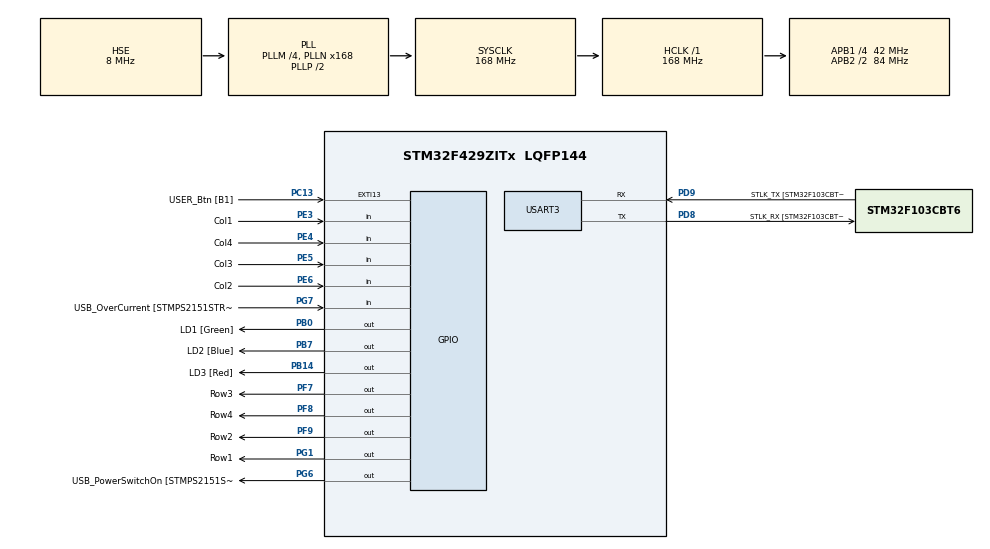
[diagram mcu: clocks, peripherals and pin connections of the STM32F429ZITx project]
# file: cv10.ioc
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Mcu.Family=STM32F4
Mcu.Name=STM32F429ZITx
Mcu.Package=LQFP144
NVIC.PriorityGroup=NVIC_PRIORITYGROUP_4
NVIC.TIM3_IRQn=true\:0\:0\:false\:false\:true\:true\:true\:true
PA1.GPIO_Label=RMII_REF_CLK [LAN8742A-CZ-TR_REFCLK0]
PA1.Signal=ETH_REF_CLK
PA10.GPIO_Label=USB_ID
PA10.Signal=USB_OTG_FS_ID
PA11.GPIO_Label=USB_DM
PA11.Signal=USB_OTG_FS_DM
PA12.GPIO_Label=USB_DP
PA12.Signal=USB_OTG_FS_DP
PA13.GPIO_Label=TMS
PA13.Mode=Serial_Wire
PA13.Signal=SYS_JTMS-SWDIO
PA14.GPIO_Label=TCK
PA14.Mode=Serial_Wire
PA14.Signal=SYS_JTCK-SWCLK
PA2.GPIO_Label=RMII_MDIO [LAN8742A-CZ-TR_MDIO]
PA2.Signal=ETH_MDIO
PA7.GPIO_Label=RMII_CRS_DV [LAN8742A-CZ-TR_CRS_DV]
PA7.Signal=ETH_CRS_DV
PA8.GPIO_Label=USB_SOF [TP1]
PA8.Signal=USB_OTG_FS_SOF
PA9.GPIO_Label=USB_VBUS
PA9.Signal=USB_OTG_FS_VBUS
PB0.GPIO_Label=LD1 [Green]
PB0.Signal=GPIO_Output
PB13.GPIO_Label=RMII_TXD1 [LAN8742A-CZ-TR_TXD1]
PB13.Signal=ETH_TXD1
PB14.GPIO_Label=LD3 [Red]
PB14.Signal=GPIO_Output
PB7.GPIO_Label=LD2 [Blue]
PB7.Signal=GPIO_Output
PC1.GPIO_Label=RMII_MDC [LAN8742A-CZ-TR_MDC]
PC1.Signal=ETH_MDC
PC13.GPIO_Label=USER_Btn [B1]
PC13.Signal=GPXTI13
PC14/OSC32_IN.Mode=LSE-External-Oscillator
PC14/OSC32_IN.Signal=RCC_OSC32_IN
PC15/OSC32_OUT.Mode=LSE-External-Oscillator
PC15/OSC32_OUT.Signal=RCC_OSC32_OUT
PC4.GPIO_Label=RMII_RXD0 [LAN8742A-CZ-TR_RXD0]
PC4.Signal=ETH_RXD0
PC5.GPIO_Label=RMII_RXD1 [LAN8742A-CZ-TR_RXD1]
PC5.Signal=ETH_RXD1
PD8.GPIO_Label=STLK_RX [STM32F103CBT6_PA3]
PD8.Mode=Asynchronous
PD8.Signal=USART3_TX
PD9.GPIO_Label=STLK_TX [STM32F103CBT6_PA2]
PD9.Mode=Asynchronous
PD9.Signal=USART3_RX
PE3.GPIO_Label=Col1
PE3.GPIO_PuPd=GPIO_PULLUP
PE3.Signal=GPIO_Input
PE4.GPIO_Label=Col4
PE4.GPIO_PuPd=GPIO_PULLUP
PE4.Signal=GPIO_Input
PE5.GPIO_Label=Col3
PE5.GPIO_PuPd=GPIO_PULLUP
PE5.Signal=GPIO_Input
PE6.GPIO_Label=Col2
PE6.GPIO_PuPd=GPIO_PULLUP
PE6.Signal=GPIO_Input
PF7.GPIO_Label=Row3
PF7.GPIO_ModeDefaultOutputPP=GPIO_MODE_OUTPUT_OD
PF7.GPIO_PuPd=GPIO_NOPULL
PF7.PinState=GPIO_PIN_SET
PF7.Signal=GPIO_Output
PF8.GPIO_Label=Row4
PF8.GPIO_ModeDefaultOutputPP=GPIO_MODE_OUTPUT_OD
PF8.GPIO_PuPd=GPIO_NOPULL
PF8.PinState=GPIO_PIN_SET
PF8.Signal=GPIO_Output
PF9.GPIO_Label=Row2
PF9.GPIO_ModeDefaultOutputPP=GPIO_MODE_OUTPUT_OD
PF9.GPIO_PuPd=GPIO_NOPULL
PF9.PinState=GPIO_PIN_SET
PF9.Signal=GPIO_Output
PG1.GPIO_Label=Row1
PG1.GPIO_ModeDefaultOutputPP=GPIO_MODE_OUTPUT_OD
PG1.GPIO_PuPd=GPIO_NOPULL
PG1.PinState=GPIO_PIN_SET
PG1.Signal=GPIO_Output
PG11.GPIO_Label=RMII_TX_EN [LAN8742A-CZ-TR_TXEN]
PG11.Signal=ETH_TX_EN
PG13.GPIO_Label=RMII_TXD0 [LAN8742A-CZ-TR_TXD0]
PG13.Signal=ETH_TXD0
PG6.GPIO_Label=USB_PowerSwitchOn [STMPS2151STR_EN]
PG6.Signal=GPIO_Output
PG7.GPIO_Label=USB_OverCurrent [STMPS2151STR_FAULT]
PG7.Signal=GPIO_Input
PH0/OSC_IN.GPIO_Label=MCO [STM32F103CBT6_PA8]
PH0/OSC_IN.Mode=HSE-External-Clock-Source
PH0/OSC_IN.Signal=RCC_OSC_IN
PH1/OSC_OUT.Mode=HSE-External-Clock-Source
PH1/OSC_OUT.Signal=RCC_OSC_OUT
ProjectManager.HeapSize=0x200
ProjectManager.StackSize=0x400
ProjectManager.TargetToolchain=STM32CubeIDE
RCC.48MHZClocksFreq_Value=48000000
RCC.AHBFreq_Value=168000000
RCC.APB1CLKDivider=RCC_HCLK_DIV4
RCC.APB1Freq_Value=42000000
RCC.APB1TimFreq_Value=84000000
RCC.APB2CLKDivider=RCC_HCLK_DIV2
RCC.APB2Freq_Value=84000000
RCC.APB2TimCLKDivider=2
RCC.APB2TimFreq_Value=168000000
RCC.CortexFreq_Value=168000000
RCC.HCLKFreq_Value=168000000
RCC.HSE_VALUE=8000000
RCC.HSI_VALUE=16000000
RCC.PLLM=4
RCC.PLLMUL=RCC_PLL_MUL9
RCC.PLLN=168
RCC.PLLQ=7
RCC.PLLSourceVirtual=RCC_PLLSOURCE_HSE
RCC.PRESCALERUSB=RCC_USBCLKSOURCE_PLL_DIV1_5
RCC.SYSCLKFreq_VALUE=168000000
RCC.SYSCLKSource=RCC_SYSCLKSOURCE_PLLCLK
RCC.SYSCLKSourceVirtual=RCC_SYSCLKSOURCE_PLLCLK
RCC.USBFreq_Value=48000000
RCC.VCOOutputFreq_Value=336000000
TIM3.AutoReloadPreload=TIM_AUTORELOAD_PRELOAD_ENABLE
TIM3.Period=99
TIM3.Prescaler=8399
USART3.VirtualMode=VM_ASYNC
VP_TIM3_VS_ClockSourceINT.Mode=Internal
board=NUCLEO-F429ZI

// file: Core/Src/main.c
/* USER CODE BEGIN Header */
/**
  ******************************************************************************
  * @file           : main.c
  * @brief          : Main program body
  ******************************************************************************
  * @attention
  *
  * Copyright (c) 2023 STMicroelectronics.
  * All rights reserved.
  *
  * This software is licensed under terms that can be found in the LICENSE file
  * in the root directory of this software component.
  * If no LICENSE file comes with this software, it is provided AS-IS.
  *
  ******************************************************************************
  */
/* USER CODE END Header */
#include "main.h"

/* USER CODE BEGIN Includes */
#include <stdio.h>

/* USER CODE END Includes */

TIM_HandleTypeDef htim3;

UART_HandleTypeDef huart3;

/* USER CODE BEGIN PV */
static volatile char key = 0;

/* USER CODE END PV */

void SystemClock_Config(void);
static void MX_GPIO_Init(void);
static void MX_USART3_UART_Init(void);
static void MX_TIM3_Init(void);
/* USER CODE BEGIN PFP */

int __io_putchar(int ch)
{
	ITM_SendChar(ch);
	return 0;
}

/* USER CODE END PFP */

int main(void)
{

  /* MCU Configuration--------------------------------------------------------*/

  /* Reset of all peripherals, Initializes the Flash interface and the Systick. */
  HAL_Init();

  /* Configure the system clock */
  SystemClock_Config();

  /* Initialize all configured peripherals */
  MX_GPIO_Init();
  MX_USART3_UART_Init();
  MX_TIM3_Init();
  /* USER CODE BEGIN 2 */
  HAL_TIM_Base_Start_IT(&htim3);

  const char code[] = {'7', '9', '3', '2', '#'};
  uint8_t pos = 0;
  uint32_t timeout = HAL_GetTick();

  /* USER CODE END 2 */

  /* Infinite loop */
  while (1)
  {

    /* USER CODE BEGIN 3 */

		if (pos != 0 && HAL_GetTick() - timeout > 3000) {
			pos = 0;
			printf("timeout\n");
		}

		if (key != 0) {
			if (key == code[pos]) {
				pos++;
				if (pos == sizeof(code)) {
					HAL_GPIO_TogglePin(LD1_GPIO_Port, LD1_Pin);
					pos = 0;
				}
			} else {
				pos = 0;
			}

			printf("code = %c > pos = %d\n", key, pos);
			timeout = HAL_GetTick();
			HAL_Delay(500);
			key = 0;
		}

  }
  /* USER CODE END 3 */
}

void SystemClock_Config(void)
{
  RCC_OscInitTypeDef RCC_OscInitStruct = {0};
  RCC_ClkInitTypeDef RCC_ClkInitStruct = {0};

  /** Configure the main internal regulator output voltage
  */
  __HAL_RCC_PWR_CLK_ENABLE();
  __HAL_PWR_VOLTAGESCALING_CONFIG(PWR_REGULATOR_VOLTAGE_SCALE1);

  /** Initializes the RCC Oscillators according to the specified parameters
  * in the RCC_OscInitTypeDef structure.
  */
  RCC_OscInitStruct.OscillatorType = RCC_OSCILLATORTYPE_HSE;
  RCC_OscInitStruct.HSEState = RCC_HSE_BYPASS;
  RCC_OscInitStruct.PLL.PLLState = RCC_PLL_ON;
  RCC_OscInitStruct.PLL.PLLSource = RCC_PLLSOURCE_HSE;
  RCC_OscInitStruct.PLL.PLLM = 4;
  RCC_OscInitStruct.PLL.PLLN = 168;
  RCC_OscInitStruct.PLL.PLLP = RCC_PLLP_DIV2;
  RCC_OscInitStruct.PLL.PLLQ = 7;
  if (HAL_RCC_OscConfig(&RCC_OscInitStruct) != HAL_OK)
  {
    Error_Handler();
  }

  /** Initializes the CPU, AHB and APB buses clocks
  */
  RCC_ClkInitStruct.ClockType = RCC_CLOCKTYPE_HCLK|RCC_CLOCKTYPE_SYSCLK
                              |RCC_CLOCKTYPE_PCLK1|RCC_CLOCKTYPE_PCLK2;
  RCC_ClkInitStruct.SYSCLKSource = RCC_SYSCLKSOURCE_PLLCLK;
  RCC_ClkInitStruct.AHBCLKDivider = RCC_SYSCLK_DIV1;
  RCC_ClkInitStruct.APB1CLKDivider = RCC_HCLK_DIV4;
  RCC_ClkInitStruct.APB2CLKDivider = RCC_HCLK_DIV2;

  if (HAL_RCC_ClockConfig(&RCC_ClkInitStruct, FLASH_LATENCY_5) != HAL_OK)
  {
    Error_Handler();
  }
}

static void MX_TIM3_Init(void)
{

  TIM_ClockConfigTypeDef sClockSourceConfig = {0};
  TIM_MasterConfigTypeDef sMasterConfig = {0};

  htim3.Instance = TIM3;
  htim3.Init.Prescaler = 8399;
  htim3.Init.CounterMode = TIM_COUNTERMODE_UP;
  htim3.Init.Period = 99;
  htim3.Init.ClockDivision = TIM_CLOCKDIVISION_DIV1;
  htim3.Init.AutoReloadPreload = TIM_AUTORELOAD_PRELOAD_ENABLE;
  if (HAL_TIM_Base_Init(&htim3) != HAL_OK)
  {
    Error_Handler();
  }
  sClockSourceConfig.ClockSource = TIM_CLOCKSOURCE_INTERNAL;
  if (HAL_TIM_ConfigClockSource(&htim3, &sClockSourceConfig) != HAL_OK)
  {
    Error_Handler();
  }
  sMasterConfig.MasterOutputTrigger = TIM_TRGO_RESET;
  sMasterConfig.MasterSlaveMode = TIM_MASTERSLAVEMODE_DISABLE;
  if (HAL_TIMEx_MasterConfigSynchronization(&htim3, &sMasterConfig) != HAL_OK)
  {
    Error_Handler();
  }

}

static void MX_USART3_UART_Init(void)
{

  huart3.Instance = USART3;
  huart3.Init.BaudRate = 115200;
  huart3.Init.WordLength = UART_WORDLENGTH_8B;
  huart3.Init.StopBits = UART_STOPBITS_1;
  huart3.Init.Parity = UART_PARITY_NONE;
  huart3.Init.Mode = UART_MODE_TX_RX;
  huart3.Init.HwFlowCtl = UART_HWCONTROL_NONE;
  huart3.Init.OverSampling = UART_OVERSAMPLING_16;
  if (HAL_UART_Init(&huart3) != HAL_OK)
  {
    Error_Handler();
  }

}

static void MX_GPIO_Init(void)
{
  GPIO_InitTypeDef GPIO_InitStruct = {0};

  /* GPIO Ports Clock Enable */
  __HAL_RCC_GPIOE_CLK_ENABLE();
  __HAL_RCC_GPIOC_CLK_ENABLE();
  __HAL_RCC_GPIOF_CLK_ENABLE();
  __HAL_RCC_GPIOH_CLK_ENABLE();
  __HAL_RCC_GPIOA_CLK_ENABLE();
  __HAL_RCC_GPIOB_CLK_ENABLE();
  __HAL_RCC_GPIOG_CLK_ENABLE();
  __HAL_RCC_GPIOD_CLK_ENABLE();

  /*Configure GPIO pin Output Level */
  HAL_GPIO_WritePin(GPIOF, Row3_Pin|Row4_Pin|Row2_Pin, GPIO_PIN_SET);

  /*Configure GPIO pin Output Level */
  HAL_GPIO_WritePin(GPIOB, LD1_Pin|LD3_Pin|LD2_Pin, GPIO_PIN_RESET);

  /*Configure GPIO pin Output Level */
  HAL_GPIO_WritePin(Row1_GPIO_Port, Row1_Pin, GPIO_PIN_SET);

  /*Configure GPIO pin Output Level */
  HAL_GPIO_WritePin(USB_PowerSwitchOn_GPIO_Port, USB_PowerSwitchOn_Pin, GPIO_PIN_RESET);

  /*Configure GPIO pins : Col1_Pin Col4_Pin Col3_Pin Col2_Pin */
  GPIO_InitStruct.Pin = Col1_Pin|Col4_Pin|Col3_Pin|Col2_Pin;
  GPIO_InitStruct.Mode = GPIO_MODE_INPUT;
  GPIO_InitStruct.Pull = GPIO_PULLUP;
  HAL_GPIO_Init(GPIOE, &GPIO_InitStruct);

  /*Configure GPIO pin : USER_Btn_Pin */
  GPIO_InitStruct.Pin = USER_Btn_Pin;
  GPIO_InitStruct.Mode = GPIO_MODE_IT_RISING;
  GPIO_InitStruct.Pull = GPIO_NOPULL;
  HAL_GPIO_Init(USER_Btn_GPIO_Port, &GPIO_InitStruct);

  /*Configure GPIO pins : Row3_Pin Row4_Pin Row2_Pin */
  GPIO_InitStruct.Pin = Row3_Pin|Row4_Pin|Row2_Pin;
  GPIO_InitStruct.Mode = GPIO_MODE_OUTPUT_OD;
  GPIO_InitStruct.Pull = GPIO_NOPULL;
  GPIO_InitStruct.Speed = GPIO_SPEED_FREQ_LOW;
  HAL_GPIO_Init(GPIOF, &GPIO_InitStruct);

  /*Configure GPIO pins : RMII_MDC_Pin RMII_RXD0_Pin RMII_RXD1_Pin */
  GPIO_InitStruct.Pin = RMII_MDC_Pin|RMII_RXD0_Pin|RMII_RXD1_Pin;
  GPIO_InitStruct.Mode = GPIO_MODE_AF_PP;
  GPIO_InitStruct.Pull = GPIO_NOPULL;
  GPIO_InitStruct.Speed = GPIO_SPEED_FREQ_VERY_HIGH;
  GPIO_InitStruct.Alternate = GPIO_AF11_ETH;
  HAL_GPIO_Init(GPIOC, &GPIO_InitStruct);

  /*Configure GPIO pins : RMII_REF_CLK_Pin RMII_MDIO_Pin RMII_CRS_DV_Pin */
  GPIO_InitStruct.Pin = RMII_REF_CLK_Pin|RMII_MDIO_Pin|RMII_CRS_DV_Pin;
  GPIO_InitStruct.Mode = GPIO_MODE_AF_PP;
  GPIO_InitStruct.Pull = GPIO_NOPULL;
  GPIO_InitStruct.Speed = GPIO_SPEED_FREQ_VERY_HIGH;
  GPIO_InitStruct.Alternate = GPIO_AF11_ETH;
  HAL_GPIO_Init(GPIOA, &GPIO_InitStruct);

  /*Configure GPIO pins : LD1_Pin LD3_Pin LD2_Pin */
  GPIO_InitStruct.Pin = LD1_Pin|LD3_Pin|LD2_Pin;
  GPIO_InitStruct.Mode = GPIO_MODE_OUTPUT_PP;
  GPIO_InitStruct.Pull = GPIO_NOPULL;
  GPIO_InitStruct.Speed = GPIO_SPEED_FREQ_LOW;
  HAL_GPIO_Init(GPIOB, &GPIO_InitStruct);

  /*Configure GPIO pin : Row1_Pin */
  GPIO_InitStruct.Pin = Row1_Pin;
  GPIO_InitStruct.Mode = GPIO_MODE_OUTPUT_OD;
  GPIO_InitStruct.Pull = GPIO_NOPULL;
  GPIO_InitStruct.Speed = GPIO_SPEED_FREQ_LOW;
  HAL_GPIO_Init(Row1_GPIO_Port, &GPIO_InitStruct);

  /*Configure GPIO pin : RMII_TXD1_Pin */
  GPIO_InitStruct.Pin = RMII_TXD1_Pin;
  GPIO_InitStruct.Mode = GPIO_MODE_AF_PP;
  GPIO_InitStruct.Pull = GPIO_NOPULL;
  GPIO_InitStruct.Speed = GPIO_SPEED_FREQ_VERY_HIGH;
  GPIO_InitStruct.Alternate = GPIO_AF11_ETH;
  HAL_GPIO_Init(RMII_TXD1_GPIO_Port, &GPIO_InitStruct);

  /*Configure GPIO pin : USB_PowerSwitchOn_Pin */
  GPIO_InitStruct.Pin = USB_PowerSwitchOn_Pin;
  GPIO_InitStruct.Mode = GPIO_MODE_OUTPUT_PP;
  GPIO_InitStruct.Pull = GPIO_NOPULL;
  GPIO_InitStruct.Speed = GPIO_SPEED_FREQ_LOW;
  HAL_GPIO_Init(USB_PowerSwitchOn_GPIO_Port, &GPIO_InitStruct);

  /*Configure GPIO pin : USB_OverCurrent_Pin */
  GPIO_InitStruct.Pin = USB_OverCurrent_Pin;
  GPIO_InitStruct.Mode = GPIO_MODE_INPUT;
  GPIO_InitStruct.Pull = GPIO_NOPULL;
  HAL_GPIO_Init(USB_OverCurrent_GPIO_Port, &GPIO_InitStruct);

  /*Configure GPIO pins : USB_SOF_Pin USB_ID_Pin USB_DM_Pin USB_DP_Pin */
  GPIO_InitStruct.Pin = USB_SOF_Pin|USB_ID_Pin|USB_DM_Pin|USB_DP_Pin;
  GPIO_InitStruct.Mode = GPIO_MODE_AF_PP;
  GPIO_InitStruct.Pull = GPIO_NOPULL;
  GPIO_InitStruct.Speed = GPIO_SPEED_FREQ_VERY_HIGH;
  GPIO_InitStruct.Alternate = GPIO_AF10_OTG_FS;
  HAL_GPIO_Init(GPIOA, &GPIO_InitStruct);

  /*Configure GPIO pin : USB_VBUS_Pin */
  GPIO_InitStruct.Pin = USB_VBUS_Pin;
  GPIO_InitStruct.Mode = GPIO_MODE_INPUT;
  GPIO_InitStruct.Pull = GPIO_NOPULL;
  HAL_GPIO_Init(USB_VBUS_GPIO_Port, &GPIO_InitStruct);

  /*Configure GPIO pins : RMII_TX_EN_Pin RMII_TXD0_Pin */
  GPIO_InitStruct.Pin = RMII_TX_EN_Pin|RMII_TXD0_Pin;
  GPIO_InitStruct.Mode = GPIO_MODE_AF_PP;
  GPIO_InitStruct.Pull = GPIO_NOPULL;
  GPIO_InitStruct.Speed = GPIO_SPEED_FREQ_VERY_HIGH;
  GPIO_InitStruct.Alternate = GPIO_AF11_ETH;
  HAL_GPIO_Init(GPIOG, &GPIO_InitStruct);

}

/* USER CODE BEGIN 4 */

void HAL_TIM_PeriodElapsedCallback(TIM_HandleTypeDef *htim)
{
	static int row = 0;
	static const int keyboard[4][4] = {
			{ '1', '2', '3', 'A' },
			{ '4', '5', '6', 'B' },
			{ '7', '8', '9', 'C' },
			{ '*', '0', '#', 'D' },
	};
	if (key == 0) {
		if (HAL_GPIO_ReadPin(Col1_GPIO_Port, Col1_Pin) == GPIO_PIN_RESET) key = keyboard[row][0];
		if (HAL_GPIO_ReadPin(Col2_GPIO_Port, Col2_Pin) == GPIO_PIN_RESET) key = keyboard[row][1];
		if (HAL_GPIO_ReadPin(Col3_GPIO_Port, Col3_Pin) == GPIO_PIN_RESET) key = keyboard[row][2];
		if (HAL_GPIO_ReadPin(Col4_GPIO_Port, Col4_Pin) == GPIO_PIN_RESET) key = keyboard[row][3];
	}
	HAL_GPIO_WritePin(Row1_GPIO_Port, Row1_Pin, GPIO_PIN_SET);
	HAL_GPIO_WritePin(Row2_GPIO_Port, Row2_Pin, GPIO_PIN_SET);
	HAL_GPIO_WritePin(Row3_GPIO_Port, Row3_Pin, GPIO_PIN_SET);
	HAL_GPIO_WritePin(Row4_GPIO_Port, Row4_Pin, GPIO_PIN_SET);
	switch (row) {
	case 0: row = 1; HAL_GPIO_WritePin(Row2_GPIO_Port, Row2_Pin, GPIO_PIN_RESET); break;
	case 1: row = 2; HAL_GPIO_WritePin(Row3_GPIO_Port, Row3_Pin, GPIO_PIN_RESET); break;
	case 2: row = 3; HAL_GPIO_WritePin(Row4_GPIO_Port, Row4_Pin, GPIO_PIN_RESET); break;
	case 3: row = 0; HAL_GPIO_WritePin(Row1_GPIO_Port, Row1_Pin, GPIO_PIN_RESET); break;
	}
}
/* USER CODE END 4 */

void Error_Handler(void)
{
  __disable_irq();
  while (1)
  {
  }
}
